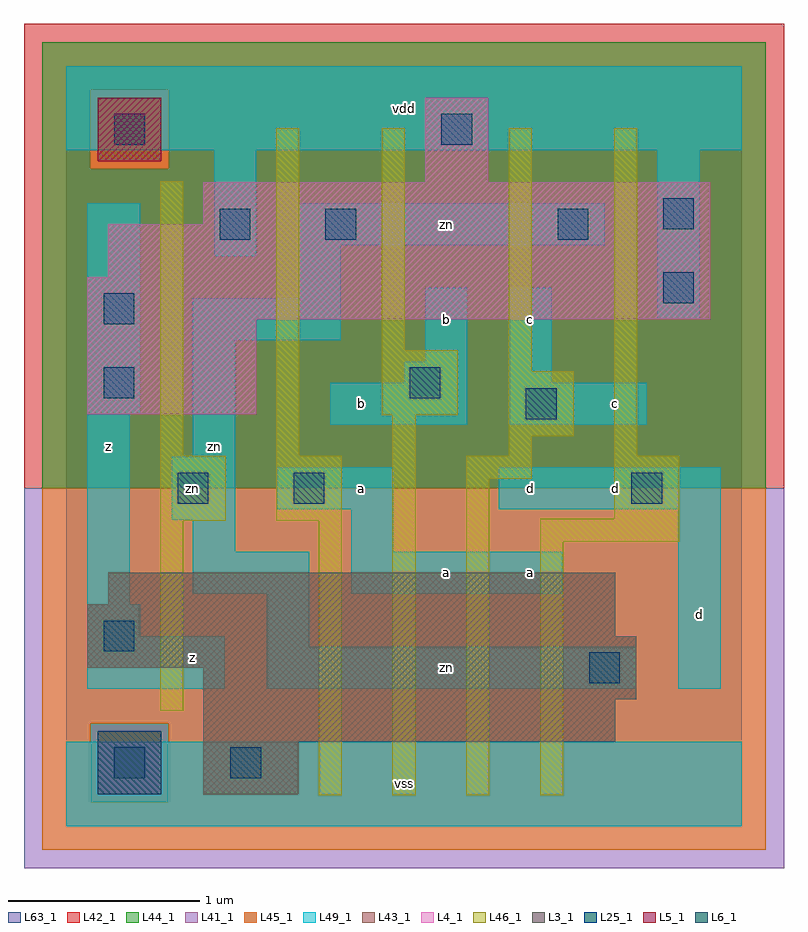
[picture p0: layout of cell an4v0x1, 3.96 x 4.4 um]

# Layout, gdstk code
import gdstk
lib = gdstk.Library(unit=1e-6, precision=1e-09)
def R(c, l, rs):  # rectangles x0, y0, x1, y1
    for r in rs: c.add(gdstk.rectangle(r[:2], r[2:], *l))
L3_1 = (3, 1)
L4_1 = (4, 1)
L5_1 = (5, 1)
L6_1 = (6, 1)
L25_1 = (25, 1)
L41_1 = (41, 1)
L42_1 = (42, 1)
L43_1 = (43, 1)
L44_1 = (44, 1)
L45_1 = (45, 1)
L46_1 = (46, 1)
L49_1 = (49, 1)
L63_1 = (63, 1)

an4v0x1 = lib.new_cell('an4v0x1')
R(an4v0x1, L3_1, [(0.715,0.165,1.21,0.44), (0.715,0.44,2.86,0.66), (0.715,0.66,2.97,0.825), (0.11,0.825,2.97,0.99), (0.11,0.99,2.86,1.155), (0.22,1.155,2.86,1.32)])
R(an4v0x1, L4_1, [(0.11,2.145,0.99,2.64), (0.11,2.64,3.355,2.86), (0.22,2.86,3.355,3.135), (0.715,3.135,3.355,3.355), (1.87,3.355,2.2,3.795)])
R(an4v0x1, L5_1, [(0.165,3.465,0.495,3.795)])
R(an4v0x1, L6_1, [(0.165,0.165,0.495,0.495)])
R(an4v0x1, L25_1, [(0.25,0.25,0.41,0.41), (0.855,0.25,1.015,0.41), (2.725,0.745,2.885,0.905), (0.195,0.91,0.355,1.07), (0.58,1.68,0.74,1.84), (1.185,1.68,1.345,1.84), (2.945,1.68,3.105,1.84), (2.395,2.12,2.555,2.28), (0.195,2.23,0.355,2.39), (1.79,2.23,1.95,2.39), (0.195,2.615,0.355,2.775), (3.11,2.725,3.27,2.885), (0.8,3.055,0.96,3.215), (1.35,3.055,1.51,3.215), (2.56,3.055,2.72,3.215), (3.11,3.11,3.27,3.27), (0.25,3.55,0.41,3.71), (1.955,3.55,2.115,3.71)])
R(an4v0x1, L41_1, [(-0.22,-0.22,3.74,1.76)])
R(an4v0x1, L42_1, [(-0.22,1.76,3.74,4.18)])
R(an4v0x1, L43_1, [(0.165,0.165,0.495,0.495), (0.715,0.165,1.21,0.44), (0.715,0.44,2.86,0.66), (0.715,0.66,2.97,0.825), (0.11,0.825,2.97,0.99), (0.11,0.99,2.86,1.155), (0.22,1.155,2.86,1.32), (0.11,2.145,0.99,2.64), (0.11,2.64,3.355,2.86), (0.22,2.86,3.355,3.135), (0.715,3.135,3.355,3.355), (1.87,3.355,2.2,3.795), (0.165,3.465,0.495,3.795)])
R(an4v0x1, L44_1, [(0.125,0.125,0.535,0.535), (-0.125,1.76,3.645,3.425), (-0.125,3.425,0.125,3.835), (0.535,3.425,3.645,3.835), (-0.125,3.835,3.645,4.085)])
R(an4v0x1, L45_1, [(-0.125,-0.125,3.645,0.125), (-0.125,0.125,0.125,0.535), (0.535,0.125,3.645,0.535), (-0.125,0.535,3.645,1.76), (0.125,3.425,0.535,3.835)])
R(an4v0x1, L46_1, [(1.315,0.16,1.435,1.59), (1.7,0.16,1.82,2.14), (2.085,0.16,2.205,1.81), (2.47,0.16,2.59,1.48), (0.49,0.6,0.61,1.59), (2.47,1.48,3.195,1.6), (0.49,1.59,0.83,1.93), (1.095,1.59,1.435,1.93), (2.855,1.6,3.195,1.93), (2.085,1.81,2.425,1.93), (0.49,1.93,0.61,3.36), (1.095,1.93,1.215,3.635), (2.305,1.93,2.425,2.03), (2.855,1.93,2.975,3.635), (2.305,2.03,2.645,2.37), (1.645,2.14,2.04,2.48), (2.305,2.37,2.425,3.635), (1.645,2.48,1.765,3.635)])
R(an4v0x1, L49_1, [(0,0,3.52,0.44), (0.11,0.715,0.825,0.99), (1.045,0.715,2.97,0.935), (3.19,0.715,3.41,1.65), (1.045,0.935,1.265,1.21), (0.11,0.99,0.385,1.155), (0.11,1.155,0.33,2.145), (0.66,1.21,1.265,1.43), (1.485,1.21,2.585,1.43), (0.66,1.43,0.88,1.595), (1.485,1.43,1.705,1.65), (0.55,1.595,0.88,1.925), (1.1,1.65,1.705,1.87), (2.255,1.65,3.41,1.87), (0.66,1.925,0.88,2.53), (1.375,2.09,2.09,2.31), (2.31,2.09,3.025,2.31), (0.11,2.145,0.385,3.245), (1.76,2.31,2.09,2.42), (2.31,2.31,2.53,2.805), (1.87,2.42,2.09,2.805), (0.66,2.53,1.43,2.75), (3.08,2.64,3.3,3.52), (1.21,2.75,1.43,3.025), (0.77,2.97,0.99,3.52), (1.21,3.025,2.805,3.245), (0,3.52,3.52,3.96)])
R(an4v0x1, L63_1, [(0,0,3.52,3.96)])
an4v0x1.add(gdstk.Label('zn', (0.66,1.76), layer=49, texttype=1))
an4v0x1.add(gdstk.Label('z', (0.66,0.88), layer=49, texttype=1))
an4v0x1.add(gdstk.Label('z', (0.22,1.98), layer=49, texttype=1))
an4v0x1.add(gdstk.Label('a', (1.54,1.76), layer=49, texttype=1))
an4v0x1.add(gdstk.Label('b', (1.54,2.2), layer=49, texttype=1))
an4v0x1.add(gdstk.Label('zn', (0.77,1.98), layer=49, texttype=1))
an4v0x1.add(gdstk.Label('vss', (1.76,0.22), layer=49, texttype=1))
an4v0x1.add(gdstk.Label('a', (1.98,1.32), layer=49, texttype=1))
an4v0x1.add(gdstk.Label('a', (2.42,1.32), layer=49, texttype=1))
an4v0x1.add(gdstk.Label('d', (2.42,1.76), layer=49, texttype=1))
an4v0x1.add(gdstk.Label('b', (1.98,2.64), layer=49, texttype=1))
an4v0x1.add(gdstk.Label('c', (2.42,2.64), layer=49, texttype=1))
an4v0x1.add(gdstk.Label('vdd', (1.76,3.74), layer=49, texttype=1))
an4v0x1.add(gdstk.Label('zn', (1.98,0.825), layer=49, texttype=1))
an4v0x1.add(gdstk.Label('d', (3.3,1.1), layer=49, texttype=1))
an4v0x1.add(gdstk.Label('d', (2.86,1.76), layer=49, texttype=1))
an4v0x1.add(gdstk.Label('c', (2.86,2.2), layer=49, texttype=1))
an4v0x1.add(gdstk.Label('zn', (1.98,3.135), layer=49, texttype=1))

lib.write_gds('an4v0x1.gds')
